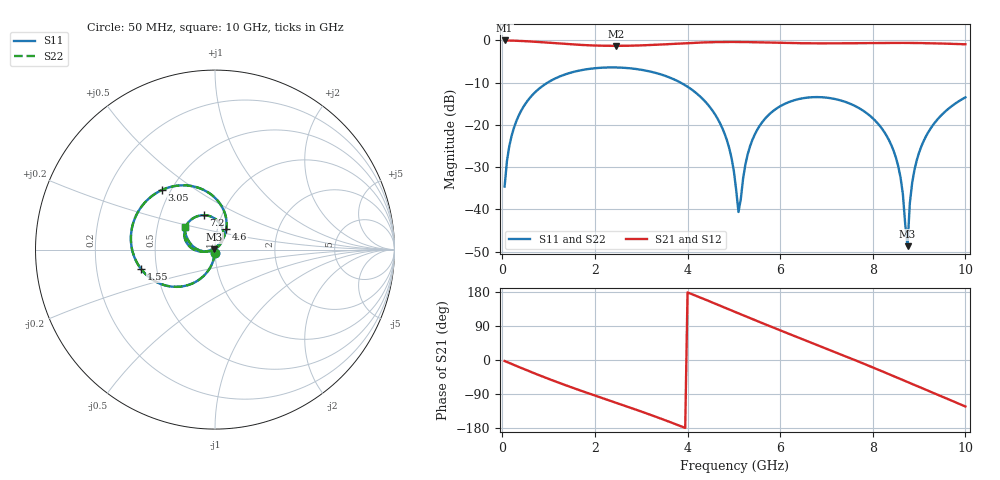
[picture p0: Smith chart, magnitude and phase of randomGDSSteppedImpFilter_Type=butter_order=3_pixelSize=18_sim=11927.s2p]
! freq	dB(S11)	phase(S11)	dB(S12)	phase(S12)
!  dB(S21)	phase(S21)	dB(S22)	phase(S22)
!S-par simulation data
#  GHz  S  DB  R 50
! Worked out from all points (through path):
!   200 points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, 50 MHz to 10 GHz, reference 50 ohm
!   highest |S21| = 0.00 dB at 50 MHz (marker M1); lowest = -1.3 dB at 2.45 GHz (marker M2)
!   group delay of S21, straight-line fit = 133 ps
!   lowest |S11| = -48.7 dB at 8.75 GHz (marker M3), VSWR 1.01, Z = 49.6 + j0.0947 ohm
!   |S11| at or under -10 dB: start of sweep to 976.9 MHz; 3.852 GHz to end of sweep
!   |S22| runs from -50.3 to -6.4 dB; largest |S21 - S12| = 0
!   S11 on the Smith chart (normalised r, x): 50 MHz: 1.00, -0.04; 1.55 GHz: 0.41, -0.11; 3.05 GHz: 0.45, +0.37; 4.6 GHz: 1.10, +0.26; 7.2 GHz: 0.82, +0.33; 10 GHz: 0.69, +0.18
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0.05  -34.61 -92.6  -0.00 -2.6  -0.00 -2.6  -34.61 -92.6
0.2  -22.64 -100.7  -0.04 -10.4  -0.04 -10.4  -22.64 -100.7
0.45  -15.84 -113.6  -0.15 -23.1  -0.15 -23.1  -15.84 -113.6
1.55  -7.42 -165.2  -0.96 -74.6  -0.96 -74.6  -7.42 -165.2
1.75  -6.95 -173.8  -1.09 -83.2  -1.09 -83.2  -6.95 -173.8
2.45  -6.40 157.0  -1.28 -112.6  -1.28 -112.6  -6.40 156.9
3.05  -7.04 131.7  -1.15 -138.1  -1.15 -138.1  -7.04 131.6
3.4  -7.96 116.4  -0.98 -153.6  -0.98 -153.6  -7.96 116.3
4.6  -17.63 61.4  -0.39 148.5  -0.39 148.5  -17.63 61.2
4.9  -25.50 52.0  -0.36 133.3  -0.36 133.3  -25.51 51.4
5.05  -35.39 66.2  -0.36 125.7  -0.36 125.7  -35.50 64.8
5.1  -40.64 108.6  -0.36 123.2  -0.36 123.2  -41.03 107.9
5.3  -26.93 -168.8  -0.39 113.0  -0.39 113.0  -26.95 -168.4
5.65  -18.84 -179.3  -0.47 95.5  -0.47 95.5  -18.85 -179.2
6.7  -13.44 132.2  -0.68 44.4  -0.68 44.4  -13.44 132.0
7.2  -13.91 108.2  -0.68 20.2  -0.68 20.2  -13.91 108.0
8.35  -23.62 52.0  -0.58 -37.4  -0.58 -37.4  -23.61 51.1
8.6  -32.49 42.9  -0.58 -50.3  -0.58 -50.3  -32.49 40.7
8.75  -48.74 164.9  -0.59 -58.0  -0.59 -58.0  -50.32 176.0
8.85  -33.78 -163.5  -0.60 -63.2  -0.60 -63.2  -33.85 -161.2
9.05  -25.07 -169.4  -0.63 -73.5  -0.63 -73.5  -25.08 -168.7
10  -13.48 143.0  -0.91 -122.6  -0.91 -122.6  -13.48 142.9
